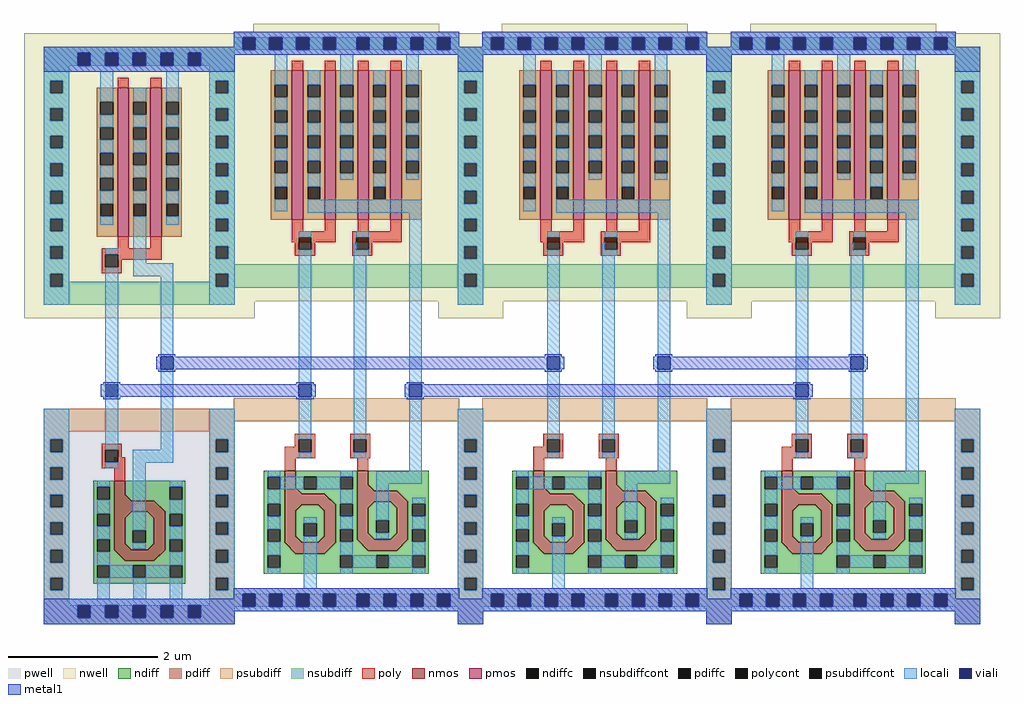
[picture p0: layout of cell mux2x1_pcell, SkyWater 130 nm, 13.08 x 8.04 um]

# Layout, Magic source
magic
tech sky130A
magscale 1 2
<< metal1 >>
rect 315 649 1297 683
rect 1647 649 2103 683
rect 120 575 636 609
rect 981 575 1967 609
use li1_M1_contact  li1_M1_contact_6
transform -1 0 148 0 -1 592
box -53 -33 29 33
use li1_M1_contact  li1_M1_contact_1
transform -1 0 296 0 -1 666
box -53 -33 29 33
use li1_M1_contact  li1_M1_contact_0
transform 1 0 666 0 1 592
box -53 -33 29 33
use nand2x1_pcell  nand2x1_pcell_0
transform 1 0 444 0 1 0
box -87 -34 753 1550
use invx1_pcell  invx1_pcell_0
transform 1 0 0 0 1 0
box -87 -34 531 1550
use li1_M1_contact  li1_M1_contact_3
transform -1 0 962 0 -1 592
box -53 -33 29 33
use li1_M1_contact  li1_M1_contact_2
transform 1 0 1332 0 1 666
box -53 -33 29 33
use nand2x1_pcell  nand2x1_pcell_1
transform 1 0 1110 0 1 0
box -87 -34 753 1550
use li1_M1_contact  li1_M1_contact_5
transform 1 0 1998 0 1 592
box -53 -33 29 33
use li1_M1_contact  li1_M1_contact_7
transform 1 0 2146 0 1 666
box -53 -33 29 33
use li1_M1_contact  li1_M1_contact_4
transform -1 0 1628 0 -1 666
box -53 -33 29 33
use nand2x1_pcell  nand2x1_pcell_2
transform 1 0 1776 0 1 0
box -87 -34 753 1550
<< end >>

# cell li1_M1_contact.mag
magic
tech sky130A
magscale 1 2
<< locali >>
rect -17 17 17 33
rect -17 -33 17 -17
<< viali >>
rect -17 -17 17 17
<< metal1 >>
rect -23 17 23 23
rect -53 -17 -17 17
rect 17 -17 29 17
rect -23 -23 23 -17
<< end >>

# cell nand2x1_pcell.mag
magic
tech sky130A
magscale 1 2
<< nwell >>
rect 84 903 582 1575
rect 83 832 582 903
<< pdiffc >>
rect 141 1105 175 1139
rect 229 1105 263 1139
rect 405 1105 439 1139
<< psubdiff >>
rect 31 510 635 572
rect 31 13 55 47
rect 89 13 127 47
rect 161 13 199 47
rect 233 13 271 47
rect 305 13 361 47
rect 395 13 433 47
rect 467 13 505 47
rect 539 13 577 47
rect 611 13 635 47
<< nsubdiff >>
rect 31 1505 55 1539
rect 89 1505 127 1539
rect 161 1505 199 1539
rect 233 1505 271 1539
rect 305 1505 361 1539
rect 395 1505 433 1539
rect 467 1505 505 1539
rect 539 1505 577 1539
rect 611 1505 635 1539
rect 31 868 635 930
<< psubdiffcont >>
rect 55 13 89 47
rect 127 13 161 47
rect 199 13 233 47
rect 271 13 305 47
rect 361 13 395 47
rect 433 13 467 47
rect 505 13 539 47
rect 577 13 611 47
<< nsubdiffcont >>
rect 55 1505 89 1539
rect 127 1505 161 1539
rect 199 1505 233 1539
rect 271 1505 305 1539
rect 361 1505 395 1539
rect 433 1505 467 1539
rect 505 1505 539 1539
rect 577 1505 611 1539
<< poly >>
rect 168 403 198 441
rect 362 410 392 411
<< locali >>
rect 31 1539 635 1554
rect 31 1505 55 1539
rect 89 1505 127 1539
rect 161 1505 199 1539
rect 233 1505 271 1539
rect 305 1505 361 1539
rect 395 1505 433 1539
rect 467 1505 505 1539
rect 539 1505 577 1539
rect 611 1505 635 1539
rect 31 1492 635 1505
rect 141 1139 175 1157
rect 141 1073 175 1105
rect 229 1139 263 1157
rect 229 1103 263 1105
rect 405 1139 439 1157
rect 405 1103 439 1105
rect 229 1069 535 1103
rect 353 954 361 988
rect 205 461 239 954
rect 353 469 387 954
rect 353 461 357 469
rect 501 376 535 1069
rect 413 342 535 376
rect 413 261 447 342
rect 219 62 253 195
rect 31 47 635 62
rect 31 13 55 47
rect 89 13 127 47
rect 161 13 199 47
rect 233 13 271 47
rect 305 13 361 47
rect 395 13 433 47
rect 467 13 505 47
rect 539 13 577 47
rect 611 13 635 47
rect 31 0 635 13
<< viali >>
rect 55 1505 89 1539
rect 127 1505 161 1539
rect 199 1505 233 1539
rect 271 1505 305 1539
rect 361 1505 395 1539
rect 433 1505 467 1539
rect 505 1505 539 1539
rect 577 1505 611 1539
rect 55 13 89 47
rect 127 13 161 47
rect 199 13 233 47
rect 271 13 305 47
rect 361 13 395 47
rect 433 13 467 47
rect 505 13 539 47
rect 577 13 611 47
<< metal1 >>
rect 31 1539 635 1554
rect 31 1505 55 1539
rect 89 1505 127 1539
rect 161 1505 199 1539
rect 233 1505 271 1539
rect 305 1505 361 1539
rect 395 1505 433 1539
rect 467 1505 505 1539
rect 539 1505 577 1539
rect 611 1505 635 1539
rect 31 1492 635 1505
rect 31 47 635 62
rect 31 13 55 47
rect 89 13 127 47
rect 161 13 199 47
rect 233 13 271 47
rect 305 13 361 47
rect 395 13 433 47
rect 467 13 505 47
rect 539 13 577 47
rect 611 13 635 47
rect 31 0 635 13
use diff_ring_side  diff_ring_side_1
transform 1 0 0 0 1 0
box -84 0 84 1575
use nmos_bottom  nmos_bottom_0
transform -1 0 360 0 1 101
box 0 0 248 302
use poly_li1_contact  poly_li1_contact_0
transform 0 1 223 -1 0 987
box -32 -28 34 26
use poly_li1_contact  poly_li1_contact_1
transform 0 1 223 -1 0 445
box -32 -28 34 26
use pmos2  pmos2_0
transform 1 0 43 0 1 1450
box 52 -461 352 42
use poly_li1_contact  poly_li1_contact_3
transform 0 1 377 -1 0 987
box -32 -28 34 26
use poly_li1_contact  poly_li1_contact_2
transform 0 -1 369 1 0 443
box -32 -28 34 26
use pmos2  pmos2_1
transform 1 0 219 0 1 1450
box 52 -461 352 42
use nmos_top_trim1  nmos_top_trim1_0
transform -1 0 554 0 1 101
box 0 0 248 309
use diff_ring_side  diff_ring_side_0
transform 1 0 666 0 1 0
box -84 0 84 1575
<< end >>

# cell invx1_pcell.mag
magic
tech sky130A
magscale 1 2
<< nwell >>
rect -87 786 531 1550
<< pwell >>
rect -34 -34 478 544
<< pdiffc >>
rect 118 1059 152 1093
rect 206 1059 240 1093
rect 294 1059 328 1093
<< psubdiff >>
rect 34 482 410 544
rect 34 -17 57 17
rect 91 -17 131 17
rect 165 -17 205 17
rect 239 -17 279 17
rect 313 -17 353 17
rect 387 -17 410 17
rect 34 -34 410 -17
<< nsubdiff >>
rect 34 1497 410 1514
rect 34 1463 57 1497
rect 91 1463 131 1497
rect 165 1463 205 1497
rect 239 1463 279 1497
rect 313 1463 353 1497
rect 387 1463 410 1497
rect 34 822 410 884
<< psubdiffcont >>
rect 57 -17 91 17
rect 131 -17 165 17
rect 205 -17 239 17
rect 279 -17 313 17
rect 353 -17 387 17
<< nsubdiffcont >>
rect 57 1463 91 1497
rect 131 1463 165 1497
rect 205 1463 239 1497
rect 279 1463 313 1497
rect 353 1463 387 1497
<< poly >>
rect 155 381 185 413
<< locali >>
rect 34 1497 410 1514
rect 34 1463 57 1497
rect 91 1463 131 1497
rect 165 1463 205 1497
rect 239 1463 279 1497
rect 313 1463 353 1497
rect 387 1463 410 1497
rect 34 1446 410 1463
rect 118 1093 152 1111
rect 118 1037 152 1059
rect 206 1093 240 1111
rect 206 933 240 1059
rect 294 1093 328 1111
rect 294 1037 328 1059
rect 131 449 165 908
rect 206 899 313 933
rect 279 433 313 899
rect 205 399 313 433
rect 205 233 239 399
rect 109 34 143 90
rect 206 34 240 91
rect 303 34 337 90
rect 34 17 410 34
rect 34 -17 57 17
rect 91 -17 131 17
rect 165 -17 205 17
rect 239 -17 279 17
rect 313 -17 353 17
rect 387 -17 410 17
rect 34 -34 410 -17
<< viali >>
rect 57 1463 91 1497
rect 131 1463 165 1497
rect 205 1463 239 1497
rect 279 1463 313 1497
rect 353 1463 387 1497
rect 57 -17 91 17
rect 131 -17 165 17
rect 205 -17 239 17
rect 279 -17 313 17
rect 353 -17 387 17
<< metal1 >>
rect 34 1497 410 1514
rect 34 1463 57 1497
rect 91 1463 131 1497
rect 165 1463 205 1497
rect 239 1463 279 1497
rect 313 1463 353 1497
rect 387 1463 410 1497
rect 34 1446 410 1463
rect 34 17 410 34
rect 34 -17 57 17
rect 91 -17 131 17
rect 165 -17 205 17
rect 239 -17 279 17
rect 313 -17 353 17
rect 387 -17 410 17
rect 34 -34 410 -17
use diff_ring_side  diff_ring_side_0
transform 1 0 444 0 1 0
box -87 -34 87 1550
use diff_ring_side  diff_ring_side_1
transform 1 0 0 0 1 0
box -87 -34 87 1550
use nmos_top  nmos_top_0
transform -1 0 345 0 1 74
box 0 0 246 308
use pmos2  pmos2_0
transform 1 0 20 0 1 1404
box 52 -461 352 42
use poly_li1_contact  poly_li1_contact_0
transform 0 1 149 -1 0 941
box -32 -28 34 26
use poly_li1_contact  poly_li1_contact_1
transform 0 -1 147 1 0 416
box -32 -28 34 26
<< end >>

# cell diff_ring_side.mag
magic
tech sky130A
magscale 1 2
<< nwell >>
rect -87 786 87 1550
<< pwell >>
rect -34 -34 34 544
<< psubdiff >>
rect -34 461 34 544
rect -34 427 -17 461
rect 17 427 34 461
rect -34 387 34 427
rect -34 353 -17 387
rect 17 353 34 387
rect -34 313 34 353
rect -34 279 -17 313
rect 17 279 34 313
rect -34 239 34 279
rect -34 205 -17 239
rect 17 205 34 239
rect -34 165 34 205
rect -34 131 -17 165
rect 17 131 34 165
rect -34 91 34 131
rect -34 57 -17 91
rect 17 57 34 91
rect -34 -34 34 57
<< nsubdiff >>
rect -34 1423 34 1514
rect -34 1389 -17 1423
rect 17 1389 34 1423
rect -34 1349 34 1389
rect -34 1315 -17 1349
rect 17 1315 34 1349
rect -34 1275 34 1315
rect -34 1241 -17 1275
rect 17 1241 34 1275
rect -34 1201 34 1241
rect -34 1167 -17 1201
rect 17 1167 34 1201
rect -34 1127 34 1167
rect -34 1093 -17 1127
rect 17 1093 34 1127
rect -34 1053 34 1093
rect -34 1019 -17 1053
rect 17 1019 34 1053
rect -34 979 34 1019
rect -34 945 -17 979
rect 17 945 34 979
rect -34 905 34 945
rect -34 871 -17 905
rect 17 871 34 905
rect -34 822 34 871
<< psubdiffcont >>
rect -17 427 17 461
rect -17 353 17 387
rect -17 279 17 313
rect -17 205 17 239
rect -17 131 17 165
rect -17 57 17 91
<< nsubdiffcont >>
rect -17 1389 17 1423
rect -17 1315 17 1349
rect -17 1241 17 1275
rect -17 1167 17 1201
rect -17 1093 17 1127
rect -17 1019 17 1053
rect -17 945 17 979
rect -17 871 17 905
<< locali >>
rect -34 1423 34 1514
rect -34 1389 -17 1423
rect 17 1389 34 1423
rect -34 1349 34 1389
rect -34 1315 -17 1349
rect 17 1315 34 1349
rect -34 1275 34 1315
rect -34 1241 -17 1275
rect 17 1241 34 1275
rect -34 1201 34 1241
rect -34 1167 -17 1201
rect 17 1167 34 1201
rect -34 1127 34 1167
rect -34 1093 -17 1127
rect 17 1093 34 1127
rect -34 1053 34 1093
rect -34 1019 -17 1053
rect 17 1019 34 1053
rect -34 979 34 1019
rect -34 945 -17 979
rect 17 945 34 979
rect -34 905 34 945
rect -34 871 -17 905
rect 17 871 34 905
rect -34 822 34 871
rect -34 461 34 544
rect -34 427 -17 461
rect 17 427 34 461
rect -34 387 34 427
rect -34 353 -17 387
rect 17 353 34 387
rect -34 313 34 353
rect -34 279 -17 313
rect 17 279 34 313
rect -34 239 34 279
rect -34 205 -17 239
rect 17 205 34 239
rect -34 165 34 205
rect -34 131 -17 165
rect 17 131 34 165
rect -34 91 34 131
rect -34 57 -17 91
rect 17 57 34 91
rect -34 -34 34 57
<< metal1 >>
rect -34 1446 34 1514
rect -34 -34 34 34
<< end >>

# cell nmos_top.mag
magic
tech sky130A
magscale 1 2
<< nmos >>
tri 144 223 160 239 se
rect 160 223 190 276
tri 54 193 84 223 se
rect 84 193 190 223
rect 54 92 84 193
tri 84 177 100 193 nw
tri 144 177 160 193 ne
tri 84 92 100 108 sw
tri 144 92 160 108 se
rect 160 92 190 193
tri 54 62 84 92 ne
rect 84 62 160 92
tri 160 62 190 92 nw
<< ndiff >>
rect 0 260 160 276
rect 0 226 8 260
rect 42 239 160 260
rect 42 226 144 239
rect 0 223 144 226
tri 144 223 160 239 nw
rect 190 260 246 276
rect 190 226 202 260
rect 236 226 246 260
rect 0 188 54 223
tri 54 193 84 223 nw
rect 0 154 8 188
rect 42 154 54 188
rect 0 120 54 154
rect 0 86 8 120
rect 42 86 54 120
tri 84 177 100 193 se
rect 100 177 144 193
tri 144 177 160 193 sw
rect 84 144 160 177
rect 84 110 106 144
rect 140 110 160 144
rect 84 108 160 110
tri 84 92 100 108 ne
rect 100 92 144 108
tri 144 92 160 108 nw
rect 190 188 246 226
rect 190 154 202 188
rect 236 154 246 188
rect 190 120 246 154
rect 0 62 54 86
tri 54 62 84 92 sw
tri 160 62 190 92 se
rect 190 86 202 120
rect 236 86 246 120
rect 190 62 246 86
rect 0 50 246 62
rect 0 16 8 50
rect 42 16 106 50
rect 140 16 202 50
rect 236 16 246 50
rect 0 0 246 16
<< ndiffc >>
rect 8 226 42 260
rect 202 226 236 260
rect 8 154 42 188
rect 8 86 42 120
rect 106 110 140 144
rect 202 154 236 188
rect 202 86 236 120
rect 8 16 42 50
rect 106 16 140 50
rect 202 16 236 50
<< poly >>
rect 160 276 190 308
<< locali >>
rect 8 260 42 276
rect 8 188 42 226
rect 202 260 236 276
rect 202 188 236 226
rect 8 120 42 154
rect 106 144 140 161
rect 106 94 140 110
rect 202 120 236 154
rect 8 50 42 86
rect 202 50 236 86
rect 42 16 106 50
rect 140 16 202 50
rect 8 0 42 16
rect 202 0 236 16
<< end >>

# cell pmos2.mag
magic
tech sky130A
magscale 1 2
<< nwell >>
rect 52 -436 352 36
<< pmos >>
rect 144 -400 174 0
rect 232 -400 262 0
<< pdiff >>
rect 88 -38 144 0
rect 88 -72 98 -38
rect 132 -72 144 -38
rect 88 -106 144 -72
rect 88 -140 98 -106
rect 132 -140 144 -106
rect 88 -174 144 -140
rect 88 -208 98 -174
rect 132 -208 144 -174
rect 88 -242 144 -208
rect 88 -276 98 -242
rect 132 -276 144 -242
rect 88 -400 144 -276
rect 174 -38 232 0
rect 174 -72 186 -38
rect 220 -72 232 -38
rect 174 -106 232 -72
rect 174 -140 186 -106
rect 220 -140 232 -106
rect 174 -174 232 -140
rect 174 -208 186 -174
rect 220 -208 232 -174
rect 174 -242 232 -208
rect 174 -276 186 -242
rect 220 -276 232 -242
rect 174 -400 232 -276
rect 262 -38 316 0
rect 262 -72 274 -38
rect 308 -72 316 -38
rect 262 -106 316 -72
rect 262 -140 274 -106
rect 308 -140 316 -106
rect 262 -174 316 -140
rect 262 -208 274 -174
rect 308 -208 316 -174
rect 262 -242 316 -208
rect 262 -276 274 -242
rect 308 -276 316 -242
rect 262 -400 316 -276
<< pdiffc >>
rect 98 -72 132 -38
rect 98 -140 132 -106
rect 98 -208 132 -174
rect 98 -276 132 -242
rect 186 -72 220 -38
rect 186 -140 220 -106
rect 186 -208 220 -174
rect 186 -276 220 -242
rect 274 -72 308 -38
rect 274 -140 308 -106
rect 274 -208 308 -174
rect 274 -276 308 -242
<< poly >>
rect 144 0 174 26
rect 232 0 262 26
rect 144 -431 174 -400
rect 232 -431 262 -400
rect 144 -461 262 -431
<< locali >>
rect 98 -38 132 42
rect 98 -106 132 -72
rect 98 -174 132 -140
rect 98 -242 132 -208
rect 98 -293 132 -276
rect 186 -38 220 0
rect 186 -106 220 -72
rect 186 -174 220 -140
rect 186 -242 220 -208
rect 186 -293 220 -276
rect 274 -38 308 42
rect 274 -106 308 -72
rect 274 -174 308 -140
rect 274 -242 308 -208
rect 274 -293 308 -276
<< end >>

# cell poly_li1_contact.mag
magic
tech sky130A
<< poly >>
rect -16 8 17 13
rect -16 -9 -8 8
rect 9 -9 17 8
rect -16 -14 17 -9
<< polycont >>
rect -8 -9 9 8
<< locali >>
rect -16 -9 -8 8
rect 9 -9 17 8
<< end >>

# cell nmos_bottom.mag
magic
tech sky130A
magscale 1 2
<< nmos >>
tri 146 215 162 231 se
rect 162 215 192 276
tri 56 185 86 215 se
rect 86 185 192 215
rect 56 84 86 185
tri 86 169 102 185 nw
tri 146 169 162 185 ne
tri 86 84 102 100 sw
tri 146 84 162 100 se
rect 162 84 192 185
tri 56 54 86 84 ne
rect 86 54 162 84
tri 162 54 192 84 nw
<< ndiff >>
rect 0 260 162 276
rect 0 226 10 260
rect 44 226 107 260
rect 141 231 162 260
rect 141 226 146 231
rect 0 215 146 226
tri 146 215 162 231 nw
rect 192 260 248 276
rect 192 226 204 260
rect 238 226 248 260
rect 0 188 56 215
rect 0 154 10 188
rect 44 154 56 188
tri 56 185 86 215 nw
rect 192 188 248 226
rect 0 120 56 154
rect 0 86 10 120
rect 44 86 56 120
rect 0 54 56 86
tri 86 169 102 185 se
rect 102 169 146 185
tri 146 169 162 185 sw
rect 86 135 162 169
rect 86 101 107 135
rect 141 101 162 135
rect 86 100 162 101
tri 86 84 102 100 ne
rect 102 84 146 100
tri 146 84 162 100 nw
rect 192 154 204 188
rect 238 154 248 188
rect 192 120 248 154
rect 192 86 204 120
rect 238 86 248 120
tri 56 54 86 84 sw
tri 162 54 192 84 se
rect 192 54 248 86
rect 0 50 248 54
rect 0 16 10 50
rect 44 16 204 50
rect 238 16 248 50
rect 0 0 248 16
<< ndiffc >>
rect 10 226 44 260
rect 107 226 141 260
rect 204 226 238 260
rect 10 154 44 188
rect 10 86 44 120
rect 107 101 141 135
rect 204 154 238 188
rect 204 86 238 120
rect 10 16 44 50
rect 204 16 238 50
<< poly >>
rect 162 276 192 302
<< locali >>
rect 10 260 44 276
rect 204 260 238 276
rect 44 226 107 260
rect 141 226 204 260
rect 10 188 44 226
rect 10 120 44 154
rect 204 188 238 226
rect 10 50 44 86
rect 107 135 141 151
rect 107 85 141 101
rect 204 120 238 154
rect 10 0 44 16
rect 204 50 238 86
rect 204 0 238 16
<< end >>

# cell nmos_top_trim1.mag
magic
tech sky130A
magscale 1 2
<< nmos >>
tri 146 223 162 239 se
rect 162 223 192 276
tri 56 193 86 223 se
rect 86 193 192 223
rect 56 92 86 193
tri 86 177 102 193 nw
tri 146 177 162 193 ne
tri 86 92 102 108 sw
tri 146 92 162 108 se
rect 162 92 192 193
tri 56 62 86 92 ne
rect 86 62 162 92
tri 162 62 192 92 nw
<< ndiff >>
rect 0 239 162 276
rect 0 223 146 239
tri 146 223 162 239 nw
rect 192 260 248 276
rect 192 226 204 260
rect 238 226 248 260
rect 0 188 56 223
tri 56 193 86 223 nw
rect 0 154 10 188
rect 44 154 56 188
rect 0 120 56 154
rect 0 86 10 120
rect 44 86 56 120
tri 86 177 102 193 se
rect 102 177 146 193
tri 146 177 162 193 sw
rect 86 144 162 177
rect 86 110 107 144
rect 141 110 162 144
rect 86 108 162 110
tri 86 92 102 108 ne
rect 102 92 146 108
tri 146 92 162 108 nw
rect 192 188 248 226
rect 192 154 204 188
rect 238 154 248 188
rect 192 120 248 154
rect 0 62 56 86
tri 56 62 86 92 sw
tri 162 62 192 92 se
rect 192 86 204 120
rect 238 86 248 120
rect 192 62 248 86
rect 0 50 248 62
rect 0 16 10 50
rect 44 16 107 50
rect 141 16 204 50
rect 238 16 248 50
rect 0 0 248 16
<< ndiffc >>
rect 204 226 238 260
rect 10 154 44 188
rect 10 86 44 120
rect 107 110 141 144
rect 204 154 238 188
rect 204 86 238 120
rect 10 16 44 50
rect 107 16 141 50
rect 204 16 238 50
<< poly >>
rect 162 276 192 309
<< locali >>
rect 204 260 238 276
rect 10 188 44 204
rect 204 188 238 226
rect 10 120 44 154
rect 107 144 141 161
rect 107 94 141 110
rect 204 120 238 154
rect 10 50 44 86
rect 204 50 238 86
rect 44 16 107 50
rect 141 16 204 50
rect 10 0 44 16
rect 204 0 238 16
<< end >>
